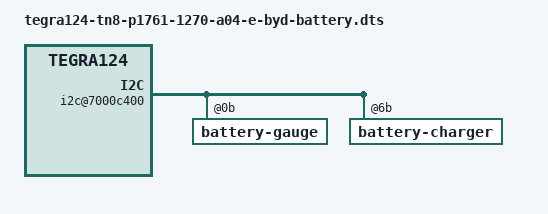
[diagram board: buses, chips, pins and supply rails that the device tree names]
#include "tegra124-tn8-p1761-1270-a04-e-nobattery.dts"

/ {
	nvidia,dtsfilename = __FILE__;

	i2c@7000c400 {
		battery-gauge@0b {
			onsemi,kernel-maximum-soc = <99>;
		};

		battery-charger@6b {
			charger {
				ti,charge-voltage-limit-millivolt = <4352>;
				ti,temp-range = <10 15 25 45 50 60>;
				ti,charge-thermal-voltage-limit = <4352 4352 4352 4352 4200 4200>;
				ti,charge-current-limit = <520 1040 2600 2600 2600 520>;
				ti,soc-range = <50 60 70 80 85 90 95 101>;
				ti,input-voltage-soc-limit = <4200 4280 4360 4440 4520 4600 4680 4760>;
			};
		};
	};

};
